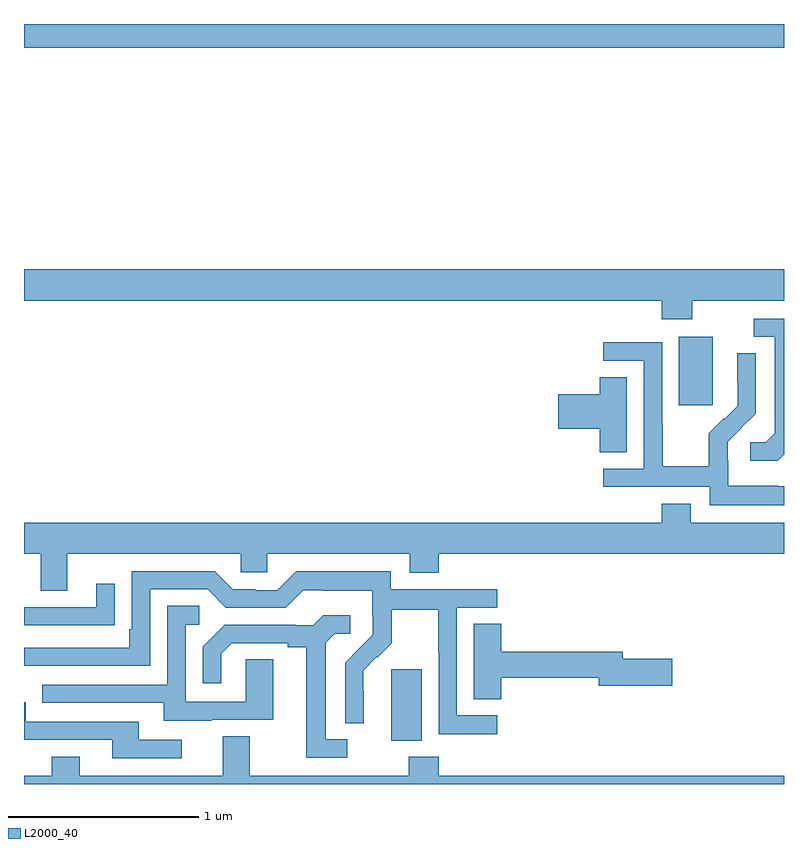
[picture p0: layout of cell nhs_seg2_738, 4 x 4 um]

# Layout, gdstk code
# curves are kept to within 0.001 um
import gdstk
lib = gdstk.Library(unit=1e-6, precision=1e-09)
def R(c, l, rs):  # rectangles x0, y0, x1, y1
    for r in rs: c.add(gdstk.rectangle(r[:2], r[2:], *l))
def P(c, l, *ps):  # polygons
    for p in ps: c.add(gdstk.Polygon(p, *l))
L2000_40 = (2000, 40)

nhs_seg2_738 = lib.new_cell('nhs_seg2_738')
R(nhs_seg2_738, L2000_40, [(150.932,604.028,151.093,604.405), (152.447,605.793,152.626,606.154), (149,607.676,153,607.8)])
P(nhs_seg2_738, L2000_40, [(152.517,606.344),(153,606.344),(153,606.508),(149,606.508),(149,606.344),(152.357,606.344),(152.357,606.245),(152.517,606.245)],
  [(153,605.535),(153,606.249),(152.841,606.249),(152.841,606.153),(152.951,606.153),(152.951,605.645),(152.904,605.598),(152.823,605.598),(152.823,605.501),(152.966,605.501)],
  [(153,605.367),(152.969,605.367),(152.969,605.371),(152.706,605.371),(152.706,605.505),(152.704,605.505),(152.704,605.602),(152.85,605.75),(152.85,606.068),(152.754,606.068),(152.754,605.914),(152.756,605.914),(152.756,605.792),(152.685,605.721),(152.682,605.724),(152.605,605.647),(152.605,605.473),(152.361,605.473),(152.361,605.696),(152.358,605.696),(152.358,606.126),(152.049,606.126),(152.049,606.027),(152.262,606.027),(152.262,605.46),(152.049,605.46),(152.049,605.364),(152.61,605.364),(152.61,605.267),(153,605.267)],
  [(152.173,605.942),(152.03,605.942),(152.03,605.852),(151.812,605.852),(151.812,605.669),(152.03,605.669),(152.03,605.545),(152.173,605.545)],
  [(149.227,605.012),(150.141,605.012),(150.141,604.914),(150.279,604.914),(150.279,605.012),(151.031,605.012),(151.031,604.913),(151.184,604.913),(151.184,605.012),(153,605.012),(153,605.176),(152.509,605.176),(152.509,605.275),(152.357,605.275),(152.357,605.176),(149,605.176),(149,605.012),(149.087,605.012),(149.087,604.818),(149.227,604.818)],
  [(151.492,604.161),(151.278,604.161),(151.278,604.728),(151.492,604.728),(151.492,604.824),(150.93,604.824),(150.93,604.921),(150.433,604.921),(150.333,604.821),(150.218,604.821),(150.218,604.824),(150.099,604.824),(150.003,604.92),(149.568,604.92),(149.568,604.615),(149.555,604.615),(149.555,604.518),(149,604.518),(149,604.422),(149.664,604.422),(149.664,604.824),(149.967,604.824),(150.063,604.728),(150.378,604.728),(150.471,604.821),(150.571,604.821),(150.571,604.817),(150.834,604.817),(150.834,604.683),(150.836,604.683),(150.836,604.586),(150.69,604.438),(150.69,604.12),(150.787,604.12),(150.787,604.292),(150.785,604.292),(150.785,604.397),(150.855,604.467),(150.858,604.464),(150.935,604.541),(150.935,604.716),(151.18,604.716),(151.18,604.492),(151.182,604.492),(151.182,604.063),(151.492,604.063)],
  [(149.375,604.636),(149.477,604.636),(149.477,604.855),(149.381,604.855),(149.381,604.731),(149,604.731),(149,604.635),(149.375,604.635)],
  [(149.989,604.137),(150.313,604.137),(150.313,604.457),(150.168,604.457),(150.168,604.233),(149.85,604.233),(149.85,604.638),(149.923,604.638),(149.923,604.739),(149.754,604.739),(149.754,604.323),(149.095,604.323),(149.095,604.227),(149.735,604.227),(149.735,604.133),(149.989,604.133)],
  [(150.7,604.035),(150.589,604.035),(150.589,604.543),(150.636,604.59),(150.718,604.59),(150.718,604.687),(150.574,604.687),(150.522,604.635),(150.428,604.635),(150.428,604.638),(150.056,604.638),(149.94,604.522),(149.94,604.329),(150.037,604.329),(150.037,604.485),(150.094,604.542),(150.389,604.542),(150.389,604.52),(150.485,604.52),(150.485,603.939),(150.7,603.939)],
  [(151.511,604.36),(152.024,604.36),(152.024,604.318),(152.413,604.318),(152.413,604.46),(152.152,604.46),(152.152,604.496),(151.511,604.496),(151.511,604.643),(151.367,604.643),(151.367,604.246),(151.511,604.246)],
  [(149.83,604.032),(149.605,604.032),(149.605,604.128),(149.01,604.128),(149.01,604.231),(149,604.231),(149,604.032),(149.465,604.032),(149.465,603.936),(149.83,603.936)],
  [(153,603.844),(151.184,603.844),(151.184,603.943),(151.024,603.943),(151.024,603.844),(150.187,603.844),(150.187,604.052),(150.047,604.052),(150.047,603.844),(149.293,603.844),(149.293,603.943),(149.146,603.943),(149.146,603.844),(149,603.844),(149,603.8),(153,603.8)])

lib.write_gds('nhs_seg2_738.gds')
